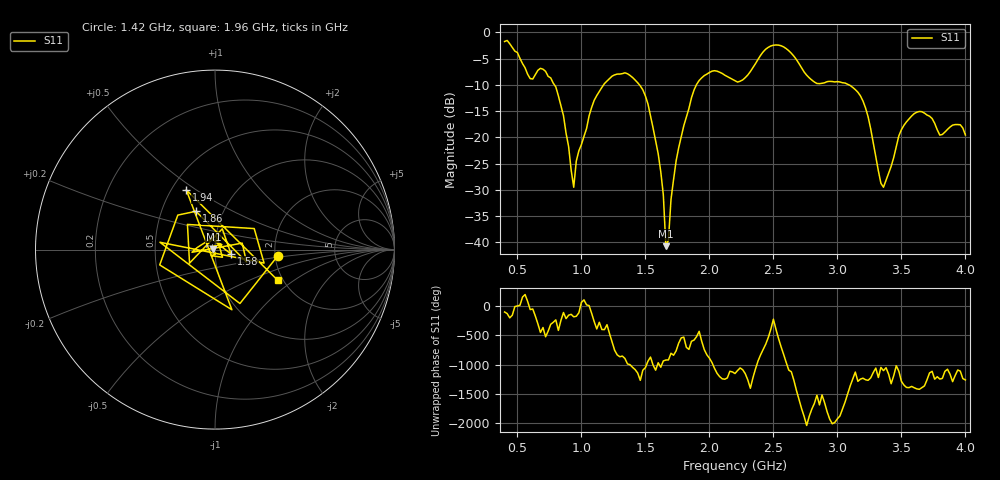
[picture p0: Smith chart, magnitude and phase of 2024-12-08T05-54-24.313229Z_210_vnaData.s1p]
!Created with skrf (http://scikit-rf.org).
# Hz S RI R 50.0
!freq ReS11 ImS11
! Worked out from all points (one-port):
!   181 points, 400 MHz to 4 GHz, reference 50 ohm
!   lowest |S11| = -40.7 dB at 1.66 GHz (marker M1), VSWR 1.02, Z = 49.2 + j0.344 ohm
!   |S11| at or under -10 dB: 789.2 MHz to 1.173 GHz (384.1 MHz wide, 39.1 % of centre); 1.454 GHz to 1.898 GHz (444.7 MHz wide, 26.5 % of centre); 3.09 GHz to end of sweep
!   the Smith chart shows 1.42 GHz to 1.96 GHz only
!   S11 on the Smith chart (normalised r, x): 1.42 GHz: 2.07, -0.17; 1.58 GHz: 1.19, -0.06; 1.86 GHz: 0.74, +0.34; 1.94 GHz: 0.59, +0.46; 1.96 GHz: 1.87, -0.75
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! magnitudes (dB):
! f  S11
! 400 MHz  -1.7
! 600 MHz  -8.8
! 720 MHz  -7.4
! 860 MHz  -15.9
! 940 MHz  -29.5
! 960 MHz  -24.5
! 1.1 GHz  -12.9
! 1.3 GHz  -7.9
! 1.42 GHz  -9.1
! 1.5 GHz  -12.1
! 1.58 GHz  -20.7
! 1.64 GHz  -30.9
! 1.66 GHz  -40.7
! 1.68 GHz  -39.6
! 1.7 GHz  -31.8
! 1.76 GHz  -22.0
! 1.86 GHz  -12.4
! 1.94 GHz  -8.7
! 1.96 GHz  -8.2
! 2.2 GHz  -9.2
! 2.48 GHz  -2.6
! 2.66 GHz  -4.5
! 2.84 GHz  -9.7
! 3.1 GHz  -10.1
! 3.22 GHz  -14.4
! 3.36 GHz  -29.5
! 3.56 GHz  -16.5
! 4 GHz  -19.5
